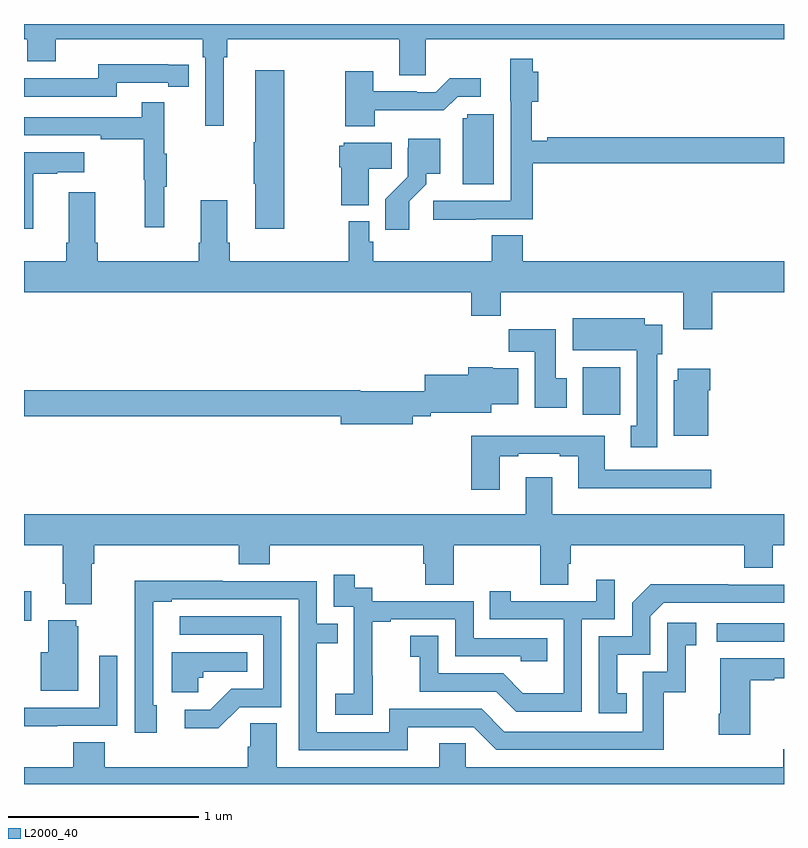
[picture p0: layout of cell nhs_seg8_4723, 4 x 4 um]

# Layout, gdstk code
import gdstk
lib = gdstk.Library(unit=1e-6, precision=1e-09)
def R(c, l, rs):  # rectangles x0, y0, x1, y1
    for r in rs: c.add(gdstk.rectangle(r[:2], r[2:], *l))
def P(c, l, *ps):  # polygons
    for p in ps: c.add(gdstk.Polygon(p, *l))
L2000_40 = (2000, 40)

nhs_seg8_4723 = lib.new_cell('nhs_seg8_4723')
R(nhs_seg8_4723, L2000_40, [(400.647,1126.65,401,1126.746), (397,1126.759,397.039,1126.915), (399.941,1127.844,400.137,1128.094)])
P(nhs_seg8_4723, L2000_40, [(397,1129.82),(397.016,1129.82),(397.016,1129.703),(397.168,1129.703),(397.168,1129.82),(397.94,1129.82),(397.94,1129.724),(397.953,1129.724),(397.953,1129.365),(398.05,1129.365),(398.05,1129.724),(398.069,1129.724),(398.069,1129.82),(398.975,1129.82),(398.975,1129.63),(399.114,1129.63),(399.114,1129.82),(401,1129.82),(401,1129.9),(397,1129.9)],
  [(399.377,1128.873),(399.677,1128.873),(399.677,1129.168),(401,1129.168),(401,1129.304),(399.754,1129.304),(399.754,1129.286),(399.673,1129.286),(399.673,1129.49),(399.707,1129.49),(399.707,1129.648),(399.677,1129.648),(399.677,1129.717),(399.56,1129.717),(399.56,1129.494),(399.561,1129.494),(399.561,1128.969),(399.153,1128.969),(399.153,1128.871),(399.377,1128.871)],
  [(397.488,1129.59),(397.76,1129.59),(397.76,1129.57),(397.868,1129.57),(397.868,1129.686),(397.76,1129.686),(397.76,1129.687),(397.392,1129.687),(397.392,1129.614),(397,1129.614),(397,1129.518),(397.488,1129.518)],
  [(398.37,1129.657),(398.216,1129.657),(398.216,1129.277),(398.209,1129.277),(398.209,1129.06),(398.216,1129.06),(398.216,1128.822),(398.37,1128.822)],
  [(398.847,1129.446),(399.209,1129.446),(399.282,1129.518),(399.403,1129.518),(399.403,1129.615),(399.241,1129.615),(399.168,1129.542),(399.068,1129.542),(399.068,1129.545),(398.839,1129.545),(398.839,1129.651),(398.692,1129.651),(398.692,1129.361),(398.847,1129.361)],
  [(397.739,1129.043),(397.75,1129.043),(397.75,1129.217),(397.739,1129.217),(397.739,1129.489),(397.621,1129.489),(397.621,1129.41),(397,1129.41),(397,1129.314),(397.405,1129.314),(397.405,1129.294),(397.629,1129.294),(397.629,1129.08),(397.636,1129.08),(397.636,1128.831),(397.739,1128.831)],
  [(399.472,1129.425),(399.333,1129.425),(399.333,1129.404),(399.308,1129.404),(399.308,1129.056),(399.472,1129.056)],
  [(399.028,1128.967),(399.118,1129.057),(399.118,1129.112),(399.19,1129.112),(399.19,1129.297),(399.023,1129.297),(399.023,1129.248),(399.021,1129.248),(399.021,1129.097),(398.902,1128.978),(398.902,1128.816),(399.028,1128.816)],
  [(398.815,1129.138),(398.936,1129.138),(398.936,1129.276),(398.682,1129.276),(398.682,1129.26),(398.659,1129.26),(398.659,1129.146),(398.671,1129.146),(398.671,1128.947),(398.815,1128.947)],
  [(397.048,1129.111),(397.175,1129.111),(397.175,1129.121),(397.318,1129.121),(397.318,1129.225),(397,1129.225),(397,1128.822),(397.048,1128.822)],
  [(400.622,1128.488),(401,1128.488),(401,1128.652),(399.626,1128.652),(399.626,1128.788),(399.461,1128.788),(399.461,1128.652),(398.837,1128.652),(398.837,1128.753),(398.817,1128.753),(398.817,1128.862),(398.709,1128.862),(398.709,1128.652),(398.084,1128.652),(398.084,1128.748),(398.071,1128.748),(398.071,1128.973),(397.931,1128.973),(397.931,1128.748),(397.919,1128.748),(397.919,1128.652),(397.388,1128.652),(397.388,1128.748),(397.375,1128.748),(397.375,1129.015),(397.235,1129.015),(397.235,1128.748),(397.223,1128.748),(397.223,1128.652),(397,1128.652),(397,1128.488),(399.353,1128.488),(399.353,1128.364),(399.509,1128.364),(399.509,1128.488),(400.469,1128.488),(400.469,1128.294),(400.622,1128.294)],
  [(400.333,1128.162),(400.36,1128.162),(400.36,1128.316),(400.267,1128.316),(400.267,1128.352),(399.887,1128.352),(399.887,1128.182),(400.226,1128.182),(400.226,1127.785),(400.193,1127.785),(400.193,1127.673),(400.333,1127.673)],
  [(399.856,1128.036),(399.799,1128.036),(399.799,1128.294),(399.55,1128.294),(399.55,1128.176),(399.689,1128.176),(399.689,1127.88),(399.856,1127.88)],
  [(399.046,1127.836),(399.142,1127.836),(399.142,1127.855),(399.46,1127.855),(399.46,1127.9),(399.601,1127.9),(399.601,1128.088),(399.468,1128.088),(399.468,1128.094),(399.338,1128.094),(399.338,1128.055),(399.11,1128.055),(399.11,1127.966),(398.77,1127.966),(398.77,1127.972),(397,1127.972),(397,1127.836),(398.666,1127.836),(398.666,1127.794),(399.046,1127.794)],
  [(400.6,1127.972),(400.613,1127.972),(400.613,1128.085),(400.442,1128.085),(400.442,1128.024),(400.421,1128.024),(400.421,1127.732),(400.6,1127.732)],
  [(399.505,1127.625),(399.601,1127.625),(399.601,1127.637),(399.821,1127.637),(399.821,1127.625),(399.917,1127.625),(399.917,1127.456),(400.618,1127.456),(400.618,1127.553),(400.057,1127.553),(400.057,1127.734),(399.353,1127.734),(399.353,1127.448),(399.505,1127.448)],
  [(397.357,1127.06),(397.37,1127.06),(397.37,1127.156),(398.129,1127.156),(398.129,1127.057),(398.294,1127.057),(398.294,1127.156),(399.101,1127.156),(399.101,1127.058),(399.113,1127.058),(399.113,1126.948),(399.261,1126.948),(399.261,1127.156),(399.718,1127.156),(399.718,1126.948),(399.865,1126.948),(399.865,1127.058),(399.878,1127.058),(399.878,1127.156),(400.79,1127.156),(400.79,1127.039),(400.942,1127.039),(400.942,1127.156),(401,1127.156),(401,1127.32),(399.781,1127.32),(399.781,1127.515),(399.641,1127.515),(399.641,1127.32),(397,1127.32),(397,1127.156),(397.205,1127.156),(397.205,1126.954),(397.217,1126.954),(397.217,1126.847),(397.357,1126.847)],
  [(398.835,1126.471),(398.834,1126.471),(398.834,1126.755),(398.929,1126.755),(398.929,1126.767),(399.27,1126.767),(399.27,1126.572),(399.615,1126.572),(399.615,1126.545),(399.755,1126.545),(399.755,1126.668),(399.366,1126.668),(399.366,1126.863),(398.832,1126.863),(398.832,1126.932),(398.74,1126.932),(398.74,1127.002),(398.631,1127.002),(398.631,1126.833),(398.736,1126.833),(398.736,1126.604),(398.735,1126.604),(398.735,1126.375),(398.637,1126.375),(398.637,1126.265),(398.835,1126.265)],
  [(399.936,1126.767),(400.11,1126.767),(400.11,1126.975),(400.013,1126.975),(400.013,1126.863),(399.562,1126.863),(399.562,1126.915),(399.451,1126.915),(399.451,1126.767),(399.84,1126.767),(399.84,1126.378),(399.626,1126.378),(399.522,1126.482),(399.18,1126.482),(399.18,1126.681),(399.033,1126.681),(399.033,1126.571),(399.082,1126.571),(399.082,1126.386),(399.485,1126.386),(399.59,1126.281),(399.936,1126.281)],
  [(399.019,1126.2),(399.366,1126.2),(399.486,1126.08),(400.366,1126.08),(400.366,1126.383),(400.484,1126.383),(400.484,1126.629),(400.537,1126.629),(400.537,1126.75),(400.386,1126.75),(400.386,1126.491),(400.257,1126.491),(400.257,1126.176),(399.528,1126.176),(399.408,1126.296),(398.922,1126.296),(398.922,1126.173),(398.541,1126.173),(398.541,1126.642),(398.651,1126.642),(398.651,1126.743),(398.541,1126.743),(398.541,1126.968),(398.045,1126.968),(398.045,1126.97),(397.582,1126.97),(397.582,1126.663),(397.584,1126.663),(397.584,1126.17),(397.699,1126.17),(397.699,1126.314),(397.68,1126.314),(397.68,1126.86),(397.777,1126.86),(397.777,1126.872),(398.445,1126.872),(398.445,1126.077),(399.019,1126.077)],
  [(400.172,1126.377),(400.123,1126.377),(400.123,1126.581),(400.296,1126.581),(400.296,1126.782),(400.368,1126.854),(401,1126.854),(401,1126.95),(400.706,1126.95),(400.706,1126.952),(400.298,1126.952),(400.2,1126.854),(400.2,1126.677),(400.026,1126.677),(400.026,1126.272),(400.172,1126.272)],
  [(398.136,1126.305),(398.355,1126.305),(398.355,1126.782),(397.821,1126.782),(397.821,1126.686),(398.259,1126.686),(398.259,1126.401),(398.09,1126.401),(397.979,1126.29),(397.845,1126.29),(397.845,1126.193),(398.023,1126.193)],
  [(397.285,1126.731),(397.274,1126.731),(397.274,1126.762),(397.127,1126.762),(397.127,1126.594),(397.088,1126.594),(397.088,1126.391),(397.285,1126.391)],
  [(397.917,1126.458),(397.944,1126.458),(397.944,1126.49),(398.174,1126.49),(398.174,1126.594),(397.778,1126.594),(397.778,1126.382),(397.917,1126.382)],
  [(397.175,1126.206),(397.491,1126.206),(397.491,1126.576),(397.395,1126.576),(397.395,1126.302),(397,1126.302),(397,1126.205),(397.175,1126.205)],
  [(400.822,1126.447),(400.949,1126.447),(400.949,1126.457),(401,1126.457),(401,1126.561),(400.664,1126.561),(400.664,1126.27),(400.657,1126.27),(400.657,1126.158),(400.822,1126.158)],
  [(401,1126.084),(400.997,1126.084),(400.997,1125.988),(399.324,1125.988),(399.324,1126.115),(399.185,1126.115),(399.185,1125.988),(398.329,1125.988),(398.329,1126.22),(398.19,1126.22),(398.19,1126.097),(398.177,1126.097),(398.177,1125.988),(397.424,1125.988),(397.424,1126.121),(397.259,1126.121),(397.259,1125.988),(397,1125.988),(397,1125.9),(401,1125.9)])

lib.write_gds('nhs_seg8_4723.gds')
